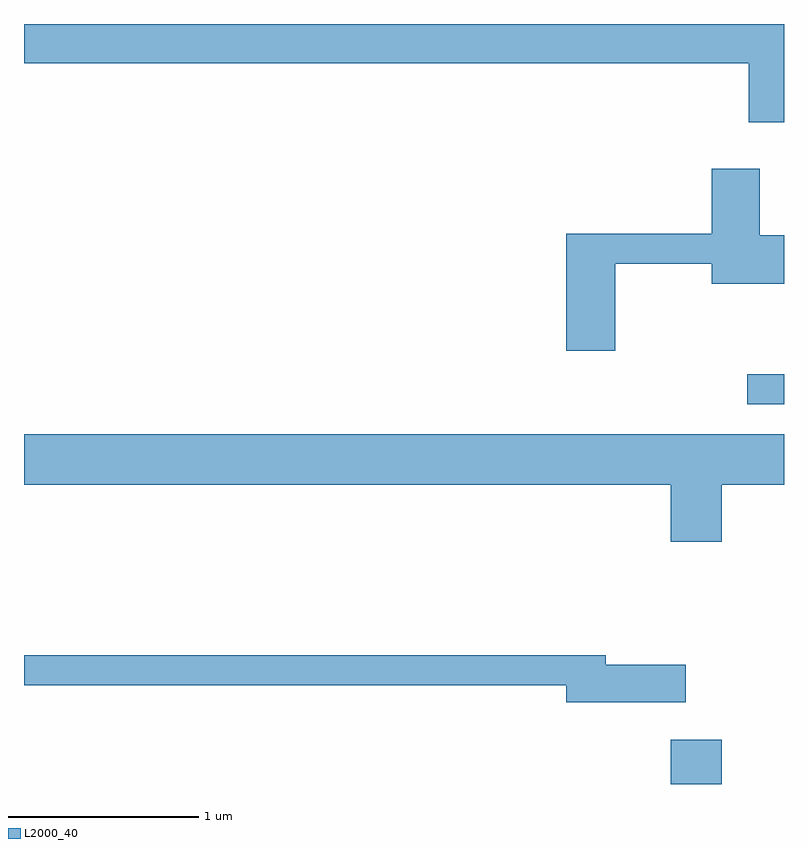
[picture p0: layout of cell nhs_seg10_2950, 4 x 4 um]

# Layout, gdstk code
import gdstk
lib = gdstk.Library(unit=1e-6, precision=1e-09)
def R(c, l, rs):  # rectangles x0, y0, x1, y1
    for r in rs: c.add(gdstk.rectangle(r[:2], r[2:], *l))
def P(c, l, *ps):  # polygons
    for p in ps: c.add(gdstk.Polygon(p, *l))
L2000_40 = (2000, 40)

nhs_seg10_2950 = lib.new_cell('nhs_seg10_2950')
R(nhs_seg10_2950, L2000_40, [(275.016,2154.522,275.284,2154.754), (275.418,2156.521,275.611,2156.679)])
P(nhs_seg10_2950, L2000_40, [(275.611,2158.522),(271.611,2158.522),(271.611,2158.316),(275.426,2158.316),(275.426,2158.006),(275.611,2158.006)],
  [(274.724,2157.261),(275.231,2157.261),(275.231,2157.156),(275.611,2157.156),(275.611,2157.409),(275.484,2157.409),(275.484,2157.759),(275.231,2157.759),(275.231,2157.419),(274.466,2157.419),(274.466,2156.801),(274.724,2156.801)],
  [(275.284,2156.096),(275.611,2156.096),(275.611,2156.364),(271.611,2156.364),(271.611,2156.096),(275.016,2156.096),(275.016,2155.796),(275.284,2155.796)],
  [(275.094,2155.149),(274.674,2155.149),(274.674,2155.199),(271.611,2155.199),(271.611,2155.041),(274.466,2155.041),(274.466,2154.951),(275.094,2154.951)])

lib.write_gds('nhs_seg10_2950.gds')
